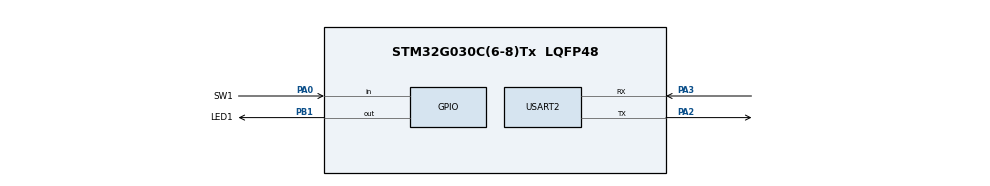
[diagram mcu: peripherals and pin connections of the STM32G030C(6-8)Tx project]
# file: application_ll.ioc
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Mcu.Family=STM32G0
Mcu.Name=STM32G030C(6-8)Tx
Mcu.Package=LQFP48
PA0.GPIO_Label=SW1
PA0.GPIO_PuPd=GPIO_PULLUP
PA0.Signal=GPIO_Input
PA2.Mode=Asynchronous
PA2.Signal=USART2_TX
PA3.Mode=Asynchronous
PA3.Signal=USART2_RX
PB1.GPIO_Label=LED1
PB1.Signal=GPIO_Output
PC14-OSC32_IN\ (PC14).Mode=LSE-External-Oscillator
PC14-OSC32_IN\ (PC14).Signal=RCC_OSC32_IN
PC15-OSC32_OUT\ (PC15).Mode=LSE-External-Oscillator
PC15-OSC32_OUT\ (PC15).Signal=RCC_OSC32_OUT
PF0-OSC_IN\ (PF0).Mode=HSE-External-Oscillator
PF0-OSC_IN\ (PF0).Signal=RCC_OSC_IN
PF1-OSC_OUT\ (PF1).Mode=HSE-External-Oscillator
PF1-OSC_OUT\ (PF1).Signal=RCC_OSC_OUT
ProjectManager.HeapSize=0x200
ProjectManager.StackSize=0x400
ProjectManager.TargetToolchain=STM32CubeIDE
RCC.ADCFreq_Value=48000000
RCC.AHBFreq_Value=48000000
RCC.CortexFreq_Value=48000000
RCC.EXTERNAL_CLOCK_VALUE=12288000
RCC.HCLKFreq_Value=48000000
RCC.HSE_VALUE=8000000
RCC.HSI_VALUE=16000000
RCC.PLLN=12
RCC.PLLSourceVirtual=RCC_PLLSOURCE_HSE
RCC.SYSCLKFreq_VALUE=48000000
RCC.SYSCLKSource=RCC_SYSCLKSOURCE_PLLCLK
RCC.VCOOutputFreq_Value=96000000
USART2.VirtualMode-Asynchronous=VM_ASYNC
board=custom

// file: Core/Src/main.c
                                                                                 /* USER CODE BEGIN Header */
/**
  ******************************************************************************
  * @file           : main.c
  * @brief          : Main program body
  ******************************************************************************
  * @attention
  *
  * Copyright (c) 2025 STMicroelectronics.
  * All rights reserved.
  *
  * This software is licensed under terms that can be found in the LICENSE file
  * in the root directory of this software component.
  * If no LICENSE file comes with this software, it is provided AS-IS.
  *
  ******************************************************************************
  */
/* USER CODE END Header */
#include "main.h"

/* USER CODE BEGIN Includes */
#include <string.h>

/* USER CODE END Includes */

/* USER CODE BEGIN PTD */
enum FW {
	RAM_FWA = 0,
	RAM_FWB,
	RAM_FWAB
};

/* USER CODE END PTD */

/* USER CODE BEGIN PD */
#define VERSION_STAMP	"FW_xx.yy.zz,HH:MM:SS,DD.MM.YYYY";
#define RAM_STAMP_ADDR  ((unsigned char *)0x20001FF0)
#define RAM_STAMP_SIZE	16

/* USER CODE END PD */

/* USER CODE BEGIN PM */
#define LOG(format, ...) SHARED_API.shared_log_format(format, ##__VA_ARGS__);
/* USER CODE END PM */

/* USER CODE BEGIN PV */

const unsigned char __attribute__((section(".stamp_fw"))) flash_stamp[] = VERSION_STAMP;

/* USER CODE END PV */
void SystemClock_Config(void);
static void MX_GPIO_Init(void);
static void MX_USART2_UART_Init(void);
/* USER CODE BEGIN PFP */
static inline void write_stamp(enum FW fw)
{
	uint8_t s[] = "UPDATE_AB";
	switch (fw) {
		case RAM_FWA:
			s[8] = 0;
			break;
		case RAM_FWB:
			s[8] = 0;
			s[7] = 'B';
			break;
	}
	memcpy(RAM_STAMP_ADDR, s, RAM_STAMP_SIZE);
}

static inline void erase_stamp(void)
{
	memset(RAM_STAMP_ADDR, 0, RAM_STAMP_SIZE);
}

/* USER CODE END PFP */

int main(void)
{

  /* MCU Configuration--------------------------------------------------------*/

  /* Reset of all peripherals, Initializes the Flash interface and the Systick. */
  LL_APB2_GRP1_EnableClock(LL_APB2_GRP1_PERIPH_SYSCFG);
  LL_APB1_GRP1_EnableClock(LL_APB1_GRP1_PERIPH_PWR);

  /* SysTick_IRQn interrupt configuration */
  NVIC_SetPriority(SysTick_IRQn, 3);

  /* Configure the system clock */
  SystemClock_Config();

  /* Initialize all configured peripherals */
  MX_GPIO_Init();
  MX_USART2_UART_Init();
  extern const uint32_t __flash_origin;
  /* Infinite loop */
  /* USER CODE BEGIN WHILE */
  //  write_stamp(RAM_FWA);
  while (1)
  {
    /* USER CODE END WHILE */

    /* USER CODE BEGIN 3 */
	  LL_GPIO_TogglePin(LED1_GPIO_Port, LED1_Pin);
	  LOG("Flash origin: 0x0%x\n\r",(uint32_t)&__flash_origin);
	//  LOG("Boot-loader main loop ll\n\r");
	  LL_mDelay(1000);
  }
  /* USER CODE END 3 */
}

void SystemClock_Config(void)
{
  LL_FLASH_SetLatency(LL_FLASH_LATENCY_1);
  while(LL_FLASH_GetLatency() != LL_FLASH_LATENCY_1)
  {
  }

  /* HSE configuration and activation */
  LL_RCC_HSE_Enable();
  while(LL_RCC_HSE_IsReady() != 1)
  {
  }

  /* Main PLL configuration and activation */
  LL_RCC_PLL_ConfigDomain_SYS(LL_RCC_PLLSOURCE_HSE, LL_RCC_PLLM_DIV_1, 12, LL_RCC_PLLR_DIV_2);
  LL_RCC_PLL_Enable();
  LL_RCC_PLL_EnableDomain_SYS();
  while(LL_RCC_PLL_IsReady() != 1)
  {
  }

  /* Set AHB prescaler*/
  LL_RCC_SetAHBPrescaler(LL_RCC_SYSCLK_DIV_1);

  /* Sysclk activation on the main PLL */
  LL_RCC_SetSysClkSource(LL_RCC_SYS_CLKSOURCE_PLL);
  while(LL_RCC_GetSysClkSource() != LL_RCC_SYS_CLKSOURCE_STATUS_PLL)
  {
  }

  /* Set APB1 prescaler*/
  LL_RCC_SetAPB1Prescaler(LL_RCC_APB1_DIV_1);

  LL_Init1msTick(48000000);

  /* Update CMSIS variable (which can be updated also through SystemCoreClockUpdate function) */
  LL_SetSystemCoreClock(48000000);
}

static void MX_USART2_UART_Init(void)
{

  LL_USART_InitTypeDef USART_InitStruct = {0};

  LL_GPIO_InitTypeDef GPIO_InitStruct = {0};

  /* Peripheral clock enable */
  LL_APB1_GRP1_EnableClock(LL_APB1_GRP1_PERIPH_USART2);

  LL_IOP_GRP1_EnableClock(LL_IOP_GRP1_PERIPH_GPIOA);
  /**USART2 GPIO Configuration
  PA2   ------> USART2_TX
  PA3   ------> USART2_RX
  */
  GPIO_InitStruct.Pin = LL_GPIO_PIN_2;
  GPIO_InitStruct.Mode = LL_GPIO_MODE_ALTERNATE;
  GPIO_InitStruct.Speed = LL_GPIO_SPEED_FREQ_LOW;
  GPIO_InitStruct.OutputType = LL_GPIO_OUTPUT_PUSHPULL;
  GPIO_InitStruct.Pull = LL_GPIO_PULL_NO;
  GPIO_InitStruct.Alternate = LL_GPIO_AF_1;
  LL_GPIO_Init(GPIOA, &GPIO_InitStruct);

  GPIO_InitStruct.Pin = LL_GPIO_PIN_3;
  GPIO_InitStruct.Mode = LL_GPIO_MODE_ALTERNATE;
  GPIO_InitStruct.Speed = LL_GPIO_SPEED_FREQ_LOW;
  GPIO_InitStruct.OutputType = LL_GPIO_OUTPUT_PUSHPULL;
  GPIO_InitStruct.Pull = LL_GPIO_PULL_NO;
  GPIO_InitStruct.Alternate = LL_GPIO_AF_1;
  LL_GPIO_Init(GPIOA, &GPIO_InitStruct);

  USART_InitStruct.PrescalerValue = LL_USART_PRESCALER_DIV1;
  USART_InitStruct.BaudRate = 115200;
  USART_InitStruct.DataWidth = LL_USART_DATAWIDTH_8B;
  USART_InitStruct.StopBits = LL_USART_STOPBITS_1;
  USART_InitStruct.Parity = LL_USART_PARITY_NONE;
  USART_InitStruct.TransferDirection = LL_USART_DIRECTION_TX_RX;
  USART_InitStruct.HardwareFlowControl = LL_USART_HWCONTROL_NONE;
  USART_InitStruct.OverSampling = LL_USART_OVERSAMPLING_16;
  LL_USART_Init(USART2, &USART_InitStruct);
  LL_USART_ConfigAsyncMode(USART2);

  LL_USART_Enable(USART2);

  /* Polling USART2 initialisation */
  while((!(LL_USART_IsActiveFlag_TEACK(USART2))) || (!(LL_USART_IsActiveFlag_REACK(USART2))))
  {
  }

}

static void MX_GPIO_Init(void)
{
  LL_GPIO_InitTypeDef GPIO_InitStruct = {0};

  /* GPIO Ports Clock Enable */
  LL_IOP_GRP1_EnableClock(LL_IOP_GRP1_PERIPH_GPIOC);
  LL_IOP_GRP1_EnableClock(LL_IOP_GRP1_PERIPH_GPIOF);
  LL_IOP_GRP1_EnableClock(LL_IOP_GRP1_PERIPH_GPIOA);
  LL_IOP_GRP1_EnableClock(LL_IOP_GRP1_PERIPH_GPIOB);

  /**/
  LL_GPIO_ResetOutputPin(LED1_GPIO_Port, LED1_Pin);

  /**/
  GPIO_InitStruct.Pin = SW1_Pin;
  GPIO_InitStruct.Mode = LL_GPIO_MODE_INPUT;
  GPIO_InitStruct.Pull = LL_GPIO_PULL_UP;
  LL_GPIO_Init(SW1_GPIO_Port, &GPIO_InitStruct);

  /**/
  GPIO_InitStruct.Pin = LED1_Pin;
  GPIO_InitStruct.Mode = LL_GPIO_MODE_OUTPUT;
  GPIO_InitStruct.Speed = LL_GPIO_SPEED_FREQ_LOW;
  GPIO_InitStruct.OutputType = LL_GPIO_OUTPUT_PUSHPULL;
  GPIO_InitStruct.Pull = LL_GPIO_PULL_NO;
  LL_GPIO_Init(LED1_GPIO_Port, &GPIO_InitStruct);

}

void Error_Handler(void)
{
  __disable_irq();
  while (1)
  {
  }
}
